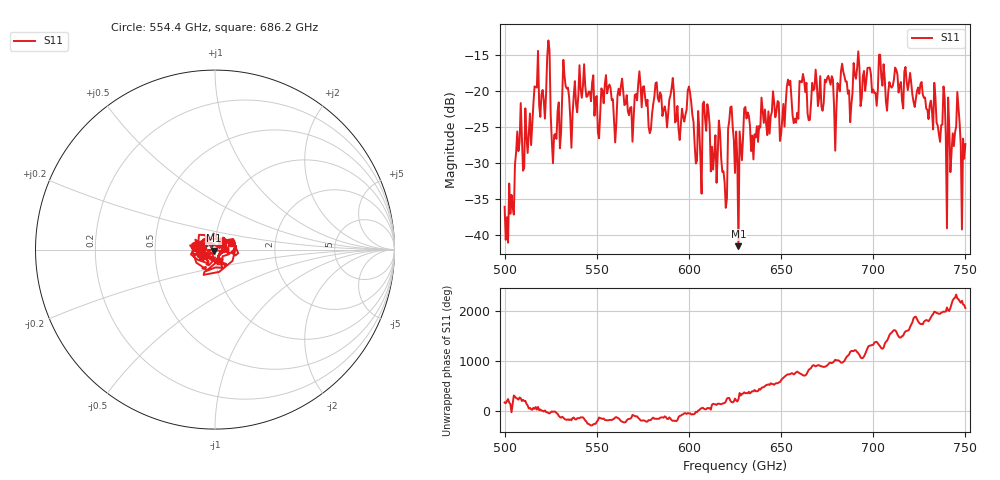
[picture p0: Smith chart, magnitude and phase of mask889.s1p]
!Created with skrf (http://scikit-rf.org).
# GHz S MA R 50.0
!freq magS11 angS11
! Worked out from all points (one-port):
!   401 points, 500 GHz to 750 GHz, reference 50 ohm
!   lowest |S11| = -41.6 dB at 626.9 GHz (marker M1), VSWR 1.02, Z = 49.4 - j0.58 ohm
!   |S11| at or under -10 dB: start of sweep to end of sweep
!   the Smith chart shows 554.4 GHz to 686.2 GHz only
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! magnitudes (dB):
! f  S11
! 500 GHz  -36.1
! 516.9 GHz  -19.5
! 523.8 GHz  -13.0
! 526.9 GHz  -26.1
! 531.2 GHz  -20.7
! 562.5 GHz  -20.6
! 579.4 GHz  -25.4
! 590.6 GHz  -19.6
! 593.8 GHz  -22.1
! 600.6 GHz  -20.3
! 605.6 GHz  -25.3
! 609.4 GHz  -25.6
! 619.4 GHz  -32.7
! 622.5 GHz  -22.3
! 625 GHz  -31.4
! 626.9 GHz  -41.6
! 631.2 GHz  -23.8
! 635 GHz  -29.5
! 656.2 GHz  -23.4
! 680 GHz  -22.7
! 683.8 GHz  -17.4
! 687.5 GHz  -24.4
! 690.6 GHz  -18.3
! 718.8 GHz  -19.9
! 738.1 GHz  -19.4
! 741.2 GHz  -25.1
! 745.6 GHz  -20.2
! 750 GHz  -27.4
